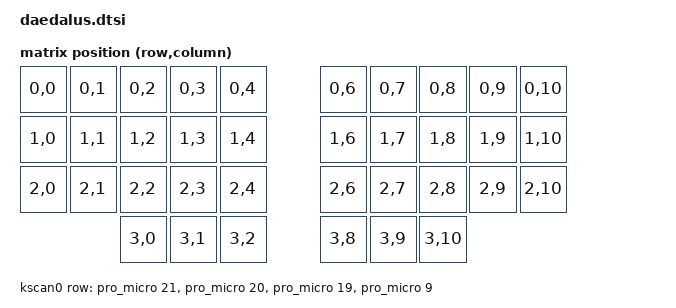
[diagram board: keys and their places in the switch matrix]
// daedalus.dtsi
// For more information refer to the schematic

#include <dt-bindings/zmk/matrix_transform.h>

/ {
    chosen {
        zmk,kscan = &kscan0;
        zmk,matrix_transform = &default_transform;
    };

    default_transform: keymap_transform_0 {
        compatible = "zmk,matrix-transform";
        columns = <10>;
        rows = <4>;

            // | SW3  | SW6  | SW9  | SW12 | SW15 |                     | SW33 | SW30 | SW27 | SW24 | SW21 |
            // | SW2  | SW5  | SW8  | SW11 | SW14 |                     | SW32 | SW29 | SW26 | SW23 | SW20 |
            // | SW1  | SW4  | SW7  | SW10 | SW13 |                     | SW31 | SW28 | SW25 | SW22 | SW19 |
            // | SW16 | SW17 | SW18 |                                                 | SW36 | SW35 | SW34 |

        map = <
            RC(0,0) RC(0,1) RC(0,2) RC(0,3) RC(0,4)                 RC(0,6) RC(0,7) RC(0,8) RC(0,9) RC(0,10)
            RC(1,0) RC(1,1) RC(1,2) RC(1,3) RC(1,4)                 RC(1,6) RC(1,7) RC(1,8) RC(1,9) RC(1,10)
            RC(2,0) RC(2,1) RC(2,2) RC(2,3) RC(2,4)                 RC(2,6) RC(2,7) RC(2,8) RC(2,9) RC(2,10)
            RC(3,0) RC(3,1) RC(3,2)                                                 RC(3,8) RC(3,9) RC(3,10)
        >;
    };

    kscan0: kscan {
        compatible = "zmk,kscan-gpio-matrix";
        wakeup-source;
        diode-direction = "col2row";
        row-gpios
            = <&pro_micro 21 (GPIO_ACTIVE_HIGH | GPIO_PULL_DOWN)> // TOP
            , <&pro_micro 20 (GPIO_ACTIVE_HIGH | GPIO_PULL_DOWN)> // HOME
            , <&pro_micro 19 (GPIO_ACTIVE_HIGH | GPIO_PULL_DOWN)> // BOTTOM
            , <&pro_micro 9 (GPIO_ACTIVE_HIGH | GPIO_PULL_DOWN)> // THUMB
            ;
    };
};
